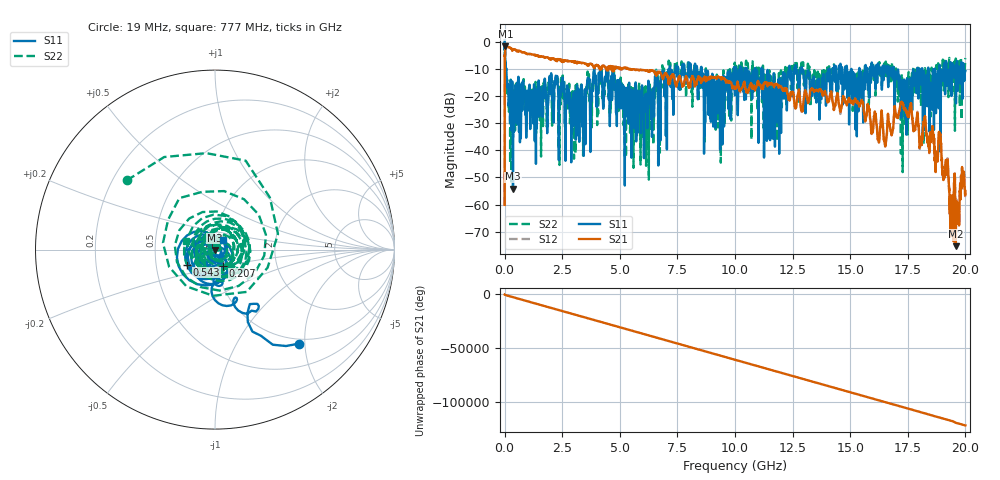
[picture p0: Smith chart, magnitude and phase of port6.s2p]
! MS46122B
! 2250307/22442219
! 2/18/2026 2:18:50 PM
! C:\USERS\SPARKY\DOCUMENTS\VNA_DATA\FEB18_2026\7K2\PORT6.S2P
! CHANNEL.1
! TR.MEASUREMENT
! RAW.DATA
# GHZ S RI R 50.0
! FREQ.GHZ  S11RE  S11IM  S21RE  S21IM  S12RE  S12IM  S22RE  S22IM
!; PortSelection: Port_12
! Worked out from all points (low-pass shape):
!   10001 points, 1 MHz to 20 GHz, reference 50 ohm
!   highest |S21| = -1.76 dB at 33 MHz (marker M1); lowest = -75.3 dB at 19.58 GHz (marker M2)
!   |S21| within 3 dB of the highest: 19.95 MHz to 1.174 GHz (1.154 GHz wide, 193 % of centre); 1.192 GHz to 1.202 GHz (10.08 MHz wide, 0.842 % of centre)
!   lowest |S11| = -54.2 dB at 365 MHz (marker M3), VSWR 1.00, Z = 50 - j0.192 ohm
!   |S11| at or under -10 dB: 74.19 MHz to 3.879 GHz (3.804 GHz wide, 192 % of centre); 4.437 GHz to 7.162 GHz (2.725 GHz wide, 47 % of centre); 8.552 GHz to 9.953 GHz (1.402 GHz wide, 15.1 % of centre) (the widest 3 of 67)
!   |S22| runs from -52.5 to -0.1 dB; largest |S21 - S12| = 0.065
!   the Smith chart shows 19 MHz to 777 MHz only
!   S11 on the Smith chart (normalised r, x): 19 MHz: 0.91, -1.89; 207 MHz: 1.08, -0.20; 543 MHz: 0.72, -0.12; 777 MHz: 1.09, +0.12
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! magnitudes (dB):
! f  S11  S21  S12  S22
! 1 MHz  0.4  -60.1  -60.1  -0.1
! 19 MHz  -3.1  -5.0  -4.8  -4.1
! 33 MHz  -8.9  -1.8  -2.1  -10.6
! 105 MHz  -14.0  -1.9  -2.0  -14.5
! 207 MHz  -19.9  -2.1  -2.1  -18.1
! 365 MHz  -54.2  -2.8  -2.8  -35.3
! 543 MHz  -15.1  -3.6  -3.6  -16.6
! 777 MHz  -22.9  -3.9  -3.9  -15.6
! 3.335 GHz  -17.5  -7.9  -8.0  -17.5
! 4.139 GHz  -10.8  -9.9  -10.0  -11.8
! 5.245 GHz  -19.5  -9.6  -9.6  -27.1
! 6.669 GHz  -28.8  -11.1  -11.1  -33.3
! 7.751 GHz  -11.9  -15.8  -15.9  -7.4
! 9.361 GHz  -20.3  -13.2  -13.1  -33.8
! 10 GHz  -19.2  -17.3  -16.6  -8.7
! 13.33 GHz  -20.1  -17.2  -17.3  -16.4
! 16.67 GHz  -11.9  -29.5  -29.5  -11.6
! 17.36 GHz  -15.1  -24.6  -24.7  -20.9
! 18.24 GHz  -21.3  -27.5  -27.4  -9.8
! 18.89 GHz  -9.2  -33.8  -34.0  -11.6
! 19.58 GHz  -16.7  -75.3  -69.8  -6.3
! 20 GHz  -10.9  -55.0  -55.7  -6.1
